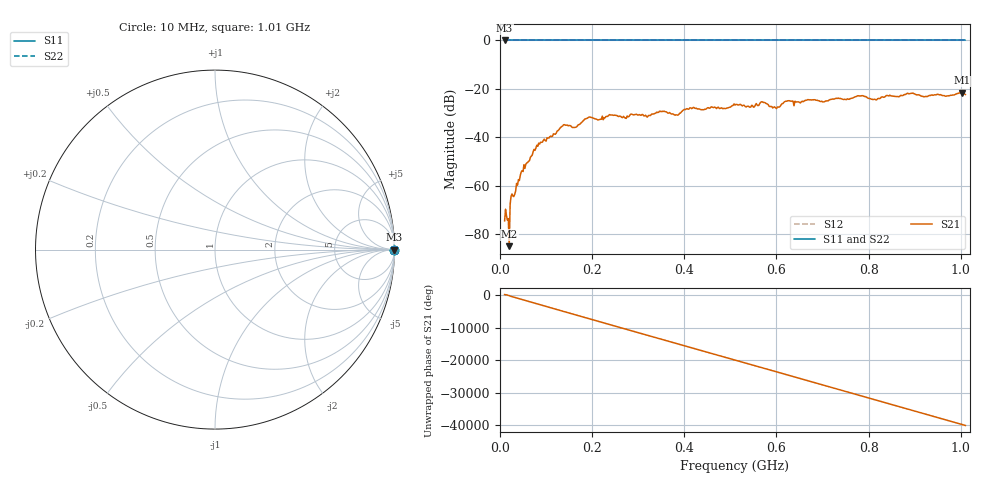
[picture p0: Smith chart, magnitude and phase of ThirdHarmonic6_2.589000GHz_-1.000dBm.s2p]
! 8/17/2025 5:32:05 AM
! C:\ANRITSUVNA\TEMP\TEMP.S2P
! CHANNEL.1
! TR.MEASUREMENT
! RAW.DATA
! RF.CORRECTION.OFF
! AVERAGING.OFF
! IF.BANDWIDTH: 5KHZ
! SWEEPTYPE:  FREQ.SWEEP(Linear)
! Reference Plane Port Info
! PORT:  PORT1  PORT2
! DISTANCE:  0  m  0  m
! TIME:  0  s  0  s
! PHASE.OFFSET:  0  deg.  0  deg.
! LOSS:  0  dB  0  dB
! REF.LOSS:  0  dB  0  dB
! REF.FREQ:  0  Hz  0  Hz
! Power Info
! POWER:  -20  dBm  -20  dBm
! EFF.POWER:  -20  dBm  -20  dBm
! SOURCE.ATTEN:  0  dB  0  dB
! TEST.ATTEN:  0  dB  0  dB
# GHZ S RI R 50.0
! FREQ.GHZ  S11RE  S11IM  S21RE  S21IM  S12RE  S12IM  S22RE  S22IM
!; PortSelection: Port_12
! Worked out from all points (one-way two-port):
!   501 points, 10 MHz to 1.01 GHz, reference 50 ohm
!   highest |S21| = -21.58 dB at 1.002 GHz (marker M1); lowest = -85.1 dB at 20 MHz (marker M2)
!   lowest |S11| = 0.0 dB at 10 MHz (marker M3)
!   |S11| at or under -10 dB: nowhere
!   |S22| runs from 0.0 to 0.0 dB; largest |S21 - S12| = 1.1
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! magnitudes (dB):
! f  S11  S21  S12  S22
! 10 MHz  0.0  -74.6  0.0  0.0
! 16 MHz  0.0  -74.3  0.0  0.0
! 20 MHz  0.0  -85.1  0.0  0.0
! 26 MHz  0.0  -63.5  0.0  0.0
! 48 MHz  0.0  -53.8  0.0  0.0
! 82 MHz  0.0  -43.8  0.0  0.0
! 136 MHz  0.0  -35.4  0.0  0.0
! 162 MHz  0.0  -36.0  0.0  0.0
! 178 MHz  0.0  -33.8  0.0  0.0
! 194 MHz  0.0  -31.6  0.0  0.0
! 322 MHz  0.0  -31.1  0.0  0.0
! 344 MHz  0.0  -29.7  0.0  0.0
! 384 MHz  0.0  -30.8  0.0  0.0
! 416 MHz  0.0  -28.2  0.0  0.0
! 510 MHz  0.0  -26.7  0.0  0.0
! 570 MHz  0.0  -25.5  0.0  0.0
! 596 MHz  0.0  -27.5  0.0  0.0
! 622 MHz  0.0  -25.1  0.0  0.0
! 678 MHz  0.0  -24.6  0.0  0.0
! 844 MHz  0.0  -23.0  0.0  0.0
! 1.002 GHz  0.0  -21.6  0.0  0.0
! 1.01 GHz  0.0  -22.4  0.0  0.0
